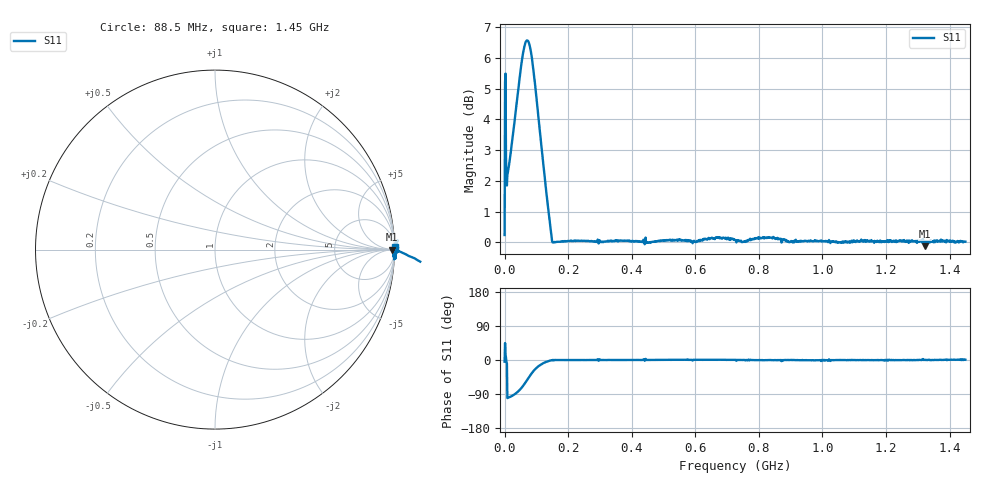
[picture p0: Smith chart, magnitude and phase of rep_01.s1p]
! Created with skrf 1.11.0 (http://scikit-rf.org).
# Hz S RI R 50.0
!freq ReS11 ImS11
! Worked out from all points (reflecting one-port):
!   1001 points, 50 kHz to 1.45 GHz, reference 50 ohm
!   lowest |S11| = -0.1 dB at 1.322 GHz (marker M1), VSWR 143.28, Z = 7.16e+03 + j87.4 ohm
!   phase of S11 starts at -4 deg and turns +5 deg over the sweep
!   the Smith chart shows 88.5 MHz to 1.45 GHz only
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50000  1.025 -0.0787
8749700  -0.2356 -1.268
1.019965e7  -0.2258 -1.279
1.16496e7  -0.2157 -1.295
1.599945e7  -0.1864 -1.346
2.759905e7  -0.0715 -1.514
3.77487e7  0.1002 -1.678
4.64484e7  0.3231 -1.809
5.659805e7  0.6884 -1.888
6.529775e7  1.062 -1.825
7.54474e7  1.447 -1.548
8.269715e7  1.611 -1.258
8.99469e7  1.664 -0.9622
9.86466e7  1.622 -0.6627
1.058964e8  1.544 -0.4666
1.14596e8  1.425 -0.2953
1.247457e8  1.287 -0.1608
1.377952e8  1.126 -0.0579
1.493948e8  1.005 -0.0187
1.812938e8  1.004 -0.000595
3.625375e8  1.006 0.000238
5.437812e8  1.01 0.00562
7.25025e8  1.009 0.00849
9.062688e8  1 0.00103
1.087512e9  1.002 -0.00639
1.268756e9  1.004 0.00384
1.322404e9  0.9861 0.000168
1.45e9  1.003 0.0121
